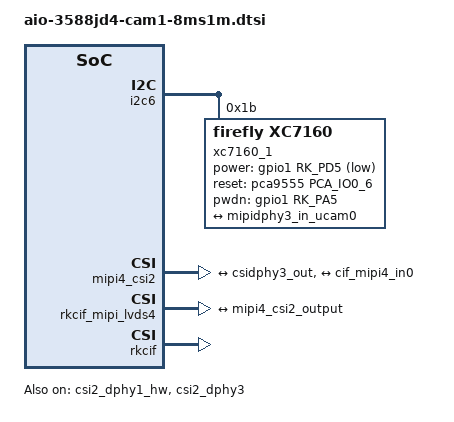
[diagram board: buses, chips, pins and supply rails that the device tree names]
// SPDX-License-Identifier: (GPL-2.0+ OR MIT)
/*
 * Copyright (c) 2021 Rockchip Electronics Co., Ltd.
 *
 */

&i2c6 {
        status = "okay";
 
       xc7160_1: xc7160-1@1b {
               compatible = "firefly,xc7160";
               reg = <0x1b>;
               clocks = <&cru CLK_MIPI_CAMARAOUT_M0>;
               clock-names = "xvclk";
               pinctrl-names = "default";
               pinctrl-0 = <&mipim0_camera0_clk>;
               power-domains = <&power RK3588_PD_VI>;

               power-gpios = <&gpio1 RK_PD5 GPIO_ACTIVE_LOW>;
               reset-gpios = <&pca9555 PCA_IO0_6 GPIO_ACTIVE_HIGH>;
               pwdn-gpios = <&gpio1 RK_PA5 GPIO_ACTIVE_HIGH>;

			#define FF_COMPATIBLE
               //avdd-supply = <&vcc_mipidphy1>;
               firefly,clkout-enabled-index = <0>;
               rockchip,camera-module-index = <2>;
               rockchip,camera-module-facing = "back";
               rockchip,camera-module-name = "NC";
               rockchip,camera-module-lens-name = "NC";
               port {
                       xc7160_out1: endpoint {
                               remote-endpoint = <&mipidphy3_in_ucam0>;
                               data-lanes = <1 2 3 4>;
                       };
               };
       };
};

&csi2_dphy1_hw {
	status = "okay";
};

&csi2_dphy3 {
	status = "okay";
#ifdef FF_COMPATIBLE
	firefly-compatible;
#endif
	ports {
		#address-cells = <1>;
		#size-cells = <0>;
		port@0 {
			reg = <0>;
			#address-cells = <1>;
			#size-cells = <0>;

			mipidphy3_in_ucam0: endpoint@0 {
				reg = <0>;
				remote-endpoint = <&xc7160_out1>;
				data-lanes = <1 2 3 4>;
			};
		};
		port@1 {
			reg = <1>;
			#address-cells = <1>;
			#size-cells = <0>;

			csidphy3_out: endpoint@0 {
				reg = <0>;
				remote-endpoint = <&mipi4_csi2_input>;
			};
		};
	};
};

&mipi4_csi2 {
	status = "okay";

#ifdef FF_COMPATIBLE
	firefly-compatible;
#endif
	ports {
		#address-cells = <1>;
		#size-cells = <0>;

		port@0 {
			reg = <0>;
			#address-cells = <1>;
			#size-cells = <0>;

			mipi4_csi2_input: endpoint@0 {
				reg = <0>;
				remote-endpoint = <&csidphy3_out>;
			};
		};

		port@1 {
			reg = <1>;
			#address-cells = <1>;
			#size-cells = <0>;

			mipi4_csi2_output: endpoint@0 {
				reg = <0>;
				remote-endpoint = <&cif_mipi4_in0>;
			};
		};
	};
};

&rkcif_mipi_lvds4 {
        status = "okay";

        port {
                cif_mipi4_in0: endpoint {
                        remote-endpoint = <&mipi4_csi2_output>;
                };
        };
};

&rkcif {
	status = "okay";
};

&rkcif_mmu {
	status = "okay";
};
